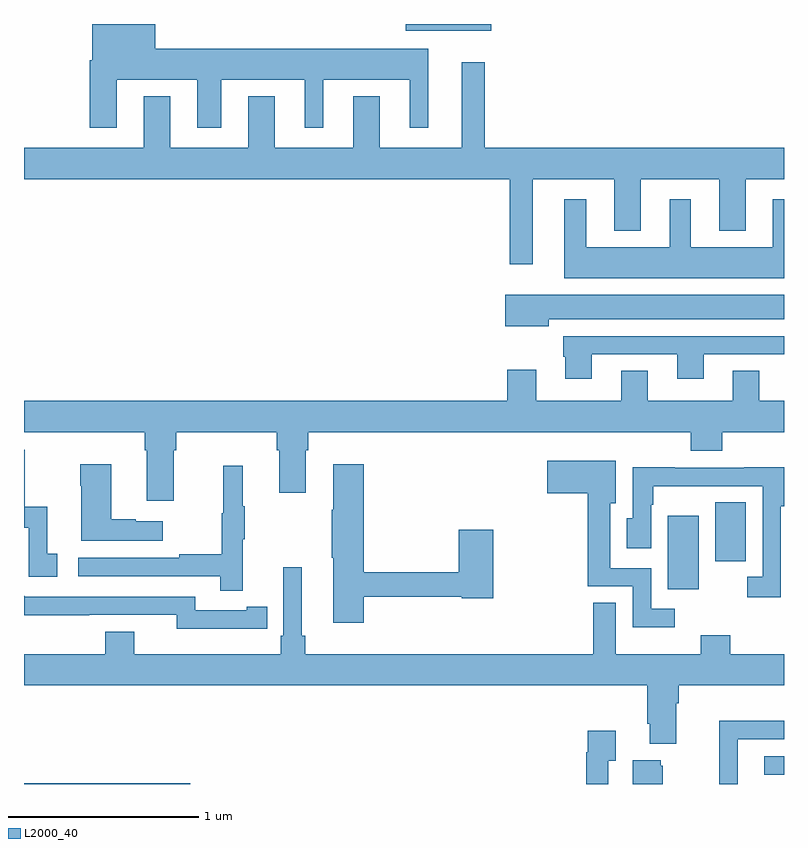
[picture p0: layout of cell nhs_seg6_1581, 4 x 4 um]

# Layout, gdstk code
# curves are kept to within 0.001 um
import gdstk
lib = gdstk.Library(unit=1e-6, precision=1e-09)
def R(c, l, rs):  # rectangles x0, y0, x1, y1
    for r in rs: c.add(gdstk.rectangle(r[:2], r[2:], *l))
def P(c, l, *ps):  # polygons
    for p in ps: c.add(gdstk.Polygon(p, *l))
L2000_40 = (2000, 40)

nhs_seg6_1581 = lib.new_cell('nhs_seg6_1581')
R(nhs_seg6_1581, L2000_40, [(207,929.5,207.874,929.504), (210.897,929.55,211,929.646), (210.389,930.524,210.55,930.913), (210.638,930.672,210.799,930.983), (209.01,933.464,209.459,933.5)])
P(nhs_seg6_1581, L2000_40, [(207.487,933.206),(207.911,933.206),(207.911,932.955),(208.039,932.955),(208.039,933.206),(208.478,933.206),(208.478,932.955),(208.576,932.955),(208.576,933.206),(209.03,933.206),(209.03,932.955),(209.128,932.955),(209.128,933.37),(207.691,933.37),(207.691,933.5),(207.359,933.5),(207.359,933.31),(207.347,933.31),(207.347,932.955),(207.487,932.955)],
  [(209.677,932.684),(210.107,932.684),(210.107,932.411),(210.247,932.411),(210.247,932.684),(210.659,932.684),(210.659,932.411),(210.799,932.411),(210.799,932.684),(211,932.684),(211,932.848),(209.425,932.848),(209.425,933.298),(209.303,933.298),(209.303,932.848),(208.873,932.848),(208.873,933.121),(208.733,933.121),(208.733,932.848),(208.321,932.848),(208.321,933.121),(208.181,933.121),(208.181,932.848),(207.769,932.848),(207.769,933.121),(207.629,933.121),(207.629,932.848),(207,932.848),(207,932.684),(209.556,932.684),(209.556,932.235),(209.677,932.235)],
  [(211,932.578),(210.941,932.578),(210.941,932.326),(210.508,932.326),(210.508,932.578),(210.398,932.578),(210.398,932.326),(209.959,932.326),(209.959,932.578),(209.843,932.578),(209.843,932.162),(211,932.162)],
  [(209.761,931.946),(211,931.946),(211,932.074),(209.532,932.074),(209.532,931.91),(209.761,931.91)],
  [(209.989,931.761),(210.437,931.761),(210.437,931.632),(210.577,931.632),(210.577,931.761),(211,931.761),(211,931.857),(209.837,931.857),(209.837,931.749),(209.849,931.749),(209.849,931.632),(209.989,931.632)],
  [(207.787,931.256),(207.8,931.256),(207.8,931.352),(208.331,931.352),(208.331,931.256),(208.343,931.256),(208.343,931.032),(208.483,931.032),(208.483,931.256),(208.496,931.256),(208.496,931.352),(210.509,931.352),(210.509,931.253),(210.674,931.253),(210.674,931.352),(211,931.352),(211,931.516),(210.871,931.516),(210.871,931.676),(210.731,931.676),(210.731,931.516),(210.283,931.516),(210.283,931.676),(210.143,931.676),(210.143,931.516),(209.695,931.516),(209.695,931.681),(209.543,931.681),(209.543,931.516),(207,931.516),(207,931.352),(207.635,931.352),(207.635,931.256),(207.647,931.256),(207.647,930.99),(207.787,930.99)],
  [(207.175,930.711),(207.122,930.711),(207.122,930.958),(207.004,930.958),(207.004,931.26),(207,931.26),(207,930.849),(207.024,930.849),(207.024,930.591),(207.175,930.591)],
  [(210.424,930.423),(210.3,930.423),(210.3,930.636),(210.085,930.636),(210.085,930.977),(210.115,930.977),(210.115,931.201),(209.754,931.201),(209.754,931.031),(209.967,931.031),(209.967,930.54),(210.204,930.54),(210.204,930.326),(210.424,930.326)],
  [(207.73,930.883),(207.587,930.883),(207.587,930.893),(207.46,930.893),(207.46,931.183),(207.295,931.183),(207.295,931.07),(207.302,931.07),(207.302,930.779),(207.73,930.779)],
  [(208.787,930.486),(209.304,930.486),(209.304,930.478),(209.471,930.478),(209.471,930.838),(209.288,930.838),(209.288,930.614),(208.787,930.614),(208.787,931.183),(208.628,931.183),(208.628,930.944),(208.621,930.944),(208.621,930.691),(208.628,930.691),(208.628,930.348),(208.787,930.348)],
  [(208.151,930.787),(208.162,930.787),(208.162,930.961),(208.151,930.961),(208.151,931.174),(208.048,931.174),(208.048,930.924),(208.041,930.924),(208.041,930.71),(207.817,930.71),(207.817,930.69),(207.285,930.69),(207.285,930.594),(208.033,930.594),(208.033,930.516),(208.151,930.516)],
  [(210.984,930.962),(211,930.962),(211,931.166),(210.791,931.166),(210.791,931.164),(210.425,931.164),(210.425,931.166),(210.204,931.166),(210.204,930.9),(210.173,930.9),(210.173,930.741),(210.3,930.741),(210.3,930.971),(210.313,930.971),(210.313,931.067),(210.542,931.067),(210.542,931.068),(210.888,931.068),(210.888,930.591),(210.807,930.591),(210.807,930.483),(210.984,930.483)],
  [(210.433,929.924),(210.446,929.924),(210.446,930.02),(211,930.02),(211,930.184),(210.717,930.184),(210.717,930.283),(210.562,930.283),(210.562,930.184),(210.115,930.184),(210.115,930.455),(209.997,930.455),(209.997,930.184),(208.481,930.184),(208.481,930.28),(208.462,930.28),(208.462,930.64),(208.365,930.64),(208.365,930.28),(208.352,930.28),(208.352,930.184),(207.58,930.184),(207.58,930.301),(207.428,930.301),(207.428,930.184),(207,930.184),(207,930.02),(210.281,930.02),(210.281,929.818),(210.293,929.818),(210.293,929.711),(210.433,929.711)],
  [(208.172,930.318),(208.28,930.318),(208.28,930.434),(208.172,930.434),(208.172,930.414),(207.9,930.414),(207.9,930.486),(207.006,930.486),(207,930.492),(207,930.389),(207.804,930.39),(207.804,930.317)],
  [(210.756,929.736),(211,929.736),(211,929.834),(210.658,929.834),(210.658,929.527),(210.66,929.527),(210.66,929.5),(210.756,929.5)],
  [(210.075,929.623),(210.115,929.623),(210.115,929.779),(209.967,929.779),(209.967,929.666),(209.959,929.666),(209.959,929.5),(210.075,929.5)],
  [(210.361,929.595),(210.35,929.595),(210.35,929.626),(210.203,929.626),(210.203,929.5),(210.361,929.5)])

lib.write_gds('nhs_seg6_1581.gds')
